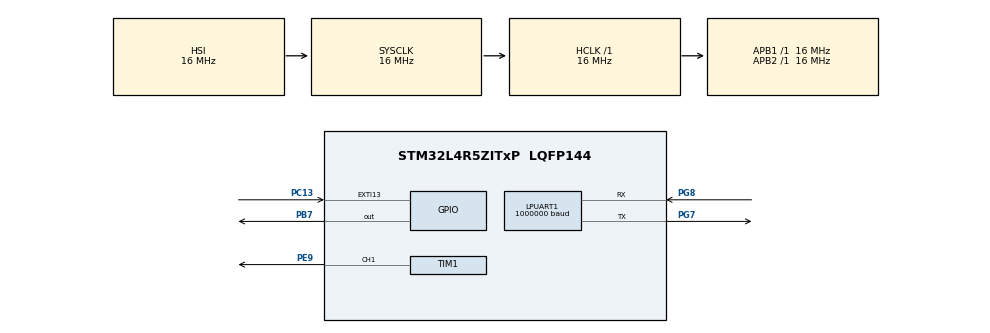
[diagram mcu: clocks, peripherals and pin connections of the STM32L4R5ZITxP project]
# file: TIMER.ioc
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Dma.LPUART1_RX.0.Direction=DMA_PERIPH_TO_MEMORY
Dma.LPUART1_RX.0.EventEnable=DISABLE
Dma.LPUART1_RX.0.Instance=DMA1_Channel1
Dma.LPUART1_RX.0.MemDataAlignment=DMA_MDATAALIGN_BYTE
Dma.LPUART1_RX.0.MemInc=DMA_MINC_ENABLE
Dma.LPUART1_RX.0.Mode=DMA_NORMAL
Dma.LPUART1_RX.0.PeriphDataAlignment=DMA_PDATAALIGN_BYTE
Dma.LPUART1_RX.0.PeriphInc=DMA_PINC_DISABLE
Dma.LPUART1_RX.0.Polarity=HAL_DMAMUX_REQUEST_GEN_RISING
Dma.LPUART1_RX.0.Priority=DMA_PRIORITY_LOW
Dma.LPUART1_RX.0.RequestNumber=1
Dma.LPUART1_RX.0.SignalID=NONE
Dma.LPUART1_RX.0.SyncEnable=DISABLE
Dma.LPUART1_RX.0.SyncPolarity=HAL_DMAMUX_SYNC_NO_EVENT
Dma.LPUART1_RX.0.SyncRequestNumber=1
Dma.LPUART1_RX.0.SyncSignalID=NONE
Dma.LPUART1_TX.1.Direction=DMA_MEMORY_TO_PERIPH
Dma.LPUART1_TX.1.EventEnable=DISABLE
Dma.LPUART1_TX.1.Instance=DMA1_Channel2
Dma.LPUART1_TX.1.MemDataAlignment=DMA_MDATAALIGN_BYTE
Dma.LPUART1_TX.1.MemInc=DMA_MINC_ENABLE
Dma.LPUART1_TX.1.Mode=DMA_NORMAL
Dma.LPUART1_TX.1.PeriphDataAlignment=DMA_PDATAALIGN_BYTE
Dma.LPUART1_TX.1.PeriphInc=DMA_PINC_DISABLE
Dma.LPUART1_TX.1.Polarity=HAL_DMAMUX_REQUEST_GEN_RISING
Dma.LPUART1_TX.1.Priority=DMA_PRIORITY_LOW
Dma.LPUART1_TX.1.RequestNumber=1
Dma.LPUART1_TX.1.SignalID=NONE
Dma.LPUART1_TX.1.SyncEnable=DISABLE
Dma.LPUART1_TX.1.SyncPolarity=HAL_DMAMUX_SYNC_NO_EVENT
Dma.LPUART1_TX.1.SyncRequestNumber=1
Dma.LPUART1_TX.1.SyncSignalID=NONE
Dma.Request0=LPUART1_RX
Dma.Request1=LPUART1_TX
LPUART1.BaudRate=1000000
LPUART1.WordLength=UART_WORDLENGTH_8B
Mcu.Family=STM32L4
Mcu.Name=STM32L4R5ZITxP
Mcu.Package=LQFP144
NVIC.DMA1_Channel1_IRQn=true\:0\:0\:false\:false\:true\:false\:true\:true
NVIC.DMA1_Channel2_IRQn=true\:0\:0\:false\:false\:true\:false\:true\:true
NVIC.EXTI15_10_IRQn=true\:0\:0\:false\:false\:true\:true\:true\:true
NVIC.LPUART1_IRQn=true\:0\:0\:false\:false\:true\:true\:true\:true
NVIC.PriorityGroup=NVIC_PRIORITYGROUP_4
NVIC.TIM1_UP_TIM16_IRQn=true\:0\:0\:false\:false\:true\:true\:true\:true
PB7.Signal=GPIO_Output
PC13.Signal=GPXTI13
PE9.Signal=S_TIM1_CH1
PG7.Mode=Asynchronous
PG7.Signal=LPUART1_TX
PG8.Mode=Asynchronous
PG8.Signal=LPUART1_RX
ProjectManager.HeapSize=0x200
ProjectManager.StackSize=0x400
ProjectManager.TargetToolchain=STM32CubeIDE
RCC.ADCFreq_Value=4000000
RCC.AHBFreq_Value=16000000
RCC.APB1Freq_Value=16000000
RCC.APB1TimFreq_Value=16000000
RCC.APB2Freq_Value=16000000
RCC.APB2TimFreq_Value=16000000
RCC.CortexFreq_Value=16000000
RCC.HCLKFreq_Value=16000000
RCC.HSE_VALUE=8000000
RCC.HSI48_VALUE=48000000
RCC.HSI_VALUE=16000000
RCC.LSE_VALUE=32768
RCC.MSIClockRange=RCC_MSIRANGE_4
RCC.MSI_VALUE=1000000
RCC.SYSCLKFreq_VALUE=16000000
RCC.SYSCLKSource=RCC_SYSCLKSOURCE_HSI
RCC.USBFreq_Value=4000000
RCC.VCOOutputFreq_Value=8000000
SH.S_TIM1_CH1.0=TIM1_CH1,PWM Generation1 CH1
TIM1.AutoReloadPreload=TIM_AUTORELOAD_PRELOAD_ENABLE
TIM1.Channel-PWM\ Generation1\ CH1=TIM_CHANNEL_1
TIM1.Period=3000
TIM1.Prescaler=1600
TIM1.TIM_MasterOutputTrigger=TIM_TRGO_UPDATE
VP_TIM1_VS_ClockSourceINT.Mode=Internal
board=NUCLEO-L4R5ZI-P

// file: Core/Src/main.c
/* USER CODE BEGIN Header */
/**
  ******************************************************************************
  * @file           : main.c
  * @brief          : Main program body
  ******************************************************************************
  * @attention
  *
  * Copyright (c) 2024 STMicroelectronics.
  * All rights reserved.
  *
  * This software is licensed under terms that can be found in the LICENSE file
  * in the root directory of this software component.
  * If no LICENSE file comes with this software, it is provided AS-IS.
  *
  ******************************************************************************
  */
/* USER CODE END Header */
#include "main.h"

/* USER CODE BEGIN Includes */
#include "uart_driver.h"
/* USER CODE END Includes */

/* USER CODE BEGIN PM */
int isSizeRxed = 0;
uint16_t size = 0;
uint8_t RxData[4096];
/* USER CODE END PM */

UART_HandleTypeDef hlpuart1;
DMA_HandleTypeDef hdma_lpuart1_rx;
DMA_HandleTypeDef hdma_lpuart1_tx;

TIM_HandleTypeDef htim1;

void SystemClock_Config(void);
static void MX_GPIO_Init(void);
static void MX_DMA_Init(void);
static void MX_TIM1_Init(void);
static void MX_LPUART1_UART_Init(void);
/* USER CODE BEGIN PFP */
static void TIM1_IRQHandler(TIM_HandleTypeDef *htim);
void HAL_TIM_PeriodElapsedCallback(TIM_HandleTypeDef* htim);
/* USER CODE END PFP */

int main(void)
{

  /* MCU Configuration--------------------------------------------------------*/

  /* Reset of all peripherals, Initializes the Flash interface and the Systick. */
  HAL_Init();

  /* Configure the system clock */
  SystemClock_Config();

  /* Initialize all configured peripherals */
  MX_GPIO_Init();
  MX_DMA_Init();
  MX_TIM1_Init();
  MX_LPUART1_UART_Init();
  /* USER CODE BEGIN 2 */
  // Start Timer in interrupt mode
  HAL_TIM_Base_Start_IT(&htim1);

  /* USER CODE END 2 */

  /* Infinite loop */
  /* USER CODE BEGIN WHILE */
  // https://deepbluembedded.com/stm32-timer-interrupt-hal-example-timer-mode-lab/
  uint16_t counterTicks = 0;
  char MSG[50] = {'\0'};
  char bufferIT[20] = "BUFFER IT\r\n";
  char bufferDMA[20] = "BUFFER DMA\r\n";
  char RxBuffer[20] = {'\0'};
//  HAL_UART_Receive_DMA(&hlpuart1, RxData, 4);
  while (1)
  {
	  counterTicks = TIM1->CNT;

	  if(HAL_UART_Receive(&hlpuart1, (char *)RxBuffer, 20, 100) == HAL_OK)
	  {
		  RxBuffer[19] = '\0';
		  sprintf(MSG, "Incoming msg = %s \r\n\r", RxBuffer);
		  transmit_UART_MSG_Pooling(&hlpuart1, (char *)MSG, sizeof(MSG));
	  }
//	  if(counterTicks % 1000 == 0)
//	  {
//		  sprintf(MSG, "Ticks = %d \r\n\r", counterTicks);
//		  transmit_UART_MSG_Pooling(&hlpuart1, (char *)MSG, sizeof(MSG));
//
//		  transmit_UART_MSG_IT(&hlpuart1, bufferIT, sizeof(bufferIT));
//
//		  transmit_UART_MSG_DMA(&hlpuart1, bufferDMA, sizeof(bufferDMA));
//		  transmit_UART_MSG_DMA(&hlpuart1, (char *)RxData, sizeof(RxData));
//	  }
	  HAL_Delay(1000);
    /* USER CODE END WHILE */

  }
}

void SystemClock_Config(void)
{
  RCC_OscInitTypeDef RCC_OscInitStruct = {0};
  RCC_ClkInitTypeDef RCC_ClkInitStruct = {0};

  /** Configure the main internal regulator output voltage
  */
  if (HAL_PWREx_ControlVoltageScaling(PWR_REGULATOR_VOLTAGE_SCALE1) != HAL_OK)
  {
    Error_Handler();
  }

  /** Initializes the RCC Oscillators according to the specified parameters
  * in the RCC_OscInitTypeDef structure.
  */
  RCC_OscInitStruct.OscillatorType = RCC_OSCILLATORTYPE_HSI;
  RCC_OscInitStruct.HSIState = RCC_HSI_ON;
  RCC_OscInitStruct.HSICalibrationValue = RCC_HSICALIBRATION_DEFAULT;
  RCC_OscInitStruct.PLL.PLLState = RCC_PLL_NONE;
  if (HAL_RCC_OscConfig(&RCC_OscInitStruct) != HAL_OK)
  {
    Error_Handler();
  }

  /** Initializes the CPU, AHB and APB buses clocks
  */
  RCC_ClkInitStruct.ClockType = RCC_CLOCKTYPE_HCLK|RCC_CLOCKTYPE_SYSCLK
                              |RCC_CLOCKTYPE_PCLK1|RCC_CLOCKTYPE_PCLK2;
  RCC_ClkInitStruct.SYSCLKSource = RCC_SYSCLKSOURCE_HSI;
  RCC_ClkInitStruct.AHBCLKDivider = RCC_SYSCLK_DIV1;
  RCC_ClkInitStruct.APB1CLKDivider = RCC_HCLK_DIV1;
  RCC_ClkInitStruct.APB2CLKDivider = RCC_HCLK_DIV1;

  if (HAL_RCC_ClockConfig(&RCC_ClkInitStruct, FLASH_LATENCY_0) != HAL_OK)
  {
    Error_Handler();
  }
}

static void MX_LPUART1_UART_Init(void)
{

  hlpuart1.Instance = LPUART1;
  hlpuart1.Init.BaudRate = 1000000;
  hlpuart1.Init.WordLength = UART_WORDLENGTH_8B;
  hlpuart1.Init.StopBits = UART_STOPBITS_1;
  hlpuart1.Init.Parity = UART_PARITY_NONE;
  hlpuart1.Init.Mode = UART_MODE_TX_RX;
  hlpuart1.Init.HwFlowCtl = UART_HWCONTROL_NONE;
  hlpuart1.Init.OneBitSampling = UART_ONE_BIT_SAMPLE_DISABLE;
  hlpuart1.Init.ClockPrescaler = UART_PRESCALER_DIV1;
  hlpuart1.AdvancedInit.AdvFeatureInit = UART_ADVFEATURE_NO_INIT;
  hlpuart1.FifoMode = UART_FIFOMODE_DISABLE;
  if (HAL_UART_Init(&hlpuart1) != HAL_OK)
  {
    Error_Handler();
  }
  if (HAL_UARTEx_SetTxFifoThreshold(&hlpuart1, UART_TXFIFO_THRESHOLD_1_8) != HAL_OK)
  {
    Error_Handler();
  }
  if (HAL_UARTEx_SetRxFifoThreshold(&hlpuart1, UART_RXFIFO_THRESHOLD_1_8) != HAL_OK)
  {
    Error_Handler();
  }
  if (HAL_UARTEx_DisableFifoMode(&hlpuart1) != HAL_OK)
  {
    Error_Handler();
  }

}

static void MX_TIM1_Init(void)
{

  TIM_ClockConfigTypeDef sClockSourceConfig = {0};
  TIM_MasterConfigTypeDef sMasterConfig = {0};
  TIM_OC_InitTypeDef sConfigOC = {0};
  TIM_BreakDeadTimeConfigTypeDef sBreakDeadTimeConfig = {0};

  htim1.Instance = TIM1;
  htim1.Init.Prescaler = 1600;
  htim1.Init.CounterMode = TIM_COUNTERMODE_UP;
  htim1.Init.Period = 3000;
  htim1.Init.ClockDivision = TIM_CLOCKDIVISION_DIV1;
  htim1.Init.RepetitionCounter = 0;
  htim1.Init.AutoReloadPreload = TIM_AUTORELOAD_PRELOAD_ENABLE;
  if (HAL_TIM_Base_Init(&htim1) != HAL_OK)
  {
    Error_Handler();
  }
  sClockSourceConfig.ClockSource = TIM_CLOCKSOURCE_INTERNAL;
  if (HAL_TIM_ConfigClockSource(&htim1, &sClockSourceConfig) != HAL_OK)
  {
    Error_Handler();
  }
  if (HAL_TIM_PWM_Init(&htim1) != HAL_OK)
  {
    Error_Handler();
  }
  sMasterConfig.MasterOutputTrigger = TIM_TRGO_UPDATE;
  sMasterConfig.MasterOutputTrigger2 = TIM_TRGO2_RESET;
  sMasterConfig.MasterSlaveMode = TIM_MASTERSLAVEMODE_DISABLE;
  if (HAL_TIMEx_MasterConfigSynchronization(&htim1, &sMasterConfig) != HAL_OK)
  {
    Error_Handler();
  }
  sConfigOC.OCMode = TIM_OCMODE_PWM1;
  sConfigOC.Pulse = 0;
  sConfigOC.OCPolarity = TIM_OCPOLARITY_HIGH;
  sConfigOC.OCNPolarity = TIM_OCNPOLARITY_HIGH;
  sConfigOC.OCFastMode = TIM_OCFAST_DISABLE;
  sConfigOC.OCIdleState = TIM_OCIDLESTATE_RESET;
  sConfigOC.OCNIdleState = TIM_OCNIDLESTATE_RESET;
  if (HAL_TIM_PWM_ConfigChannel(&htim1, &sConfigOC, TIM_CHANNEL_1) != HAL_OK)
  {
    Error_Handler();
  }
  sBreakDeadTimeConfig.OffStateRunMode = TIM_OSSR_DISABLE;
  sBreakDeadTimeConfig.OffStateIDLEMode = TIM_OSSI_DISABLE;
  sBreakDeadTimeConfig.LockLevel = TIM_LOCKLEVEL_OFF;
  sBreakDeadTimeConfig.DeadTime = 0;
  sBreakDeadTimeConfig.BreakState = TIM_BREAK_DISABLE;
  sBreakDeadTimeConfig.BreakPolarity = TIM_BREAKPOLARITY_HIGH;
  sBreakDeadTimeConfig.BreakFilter = 0;
  sBreakDeadTimeConfig.Break2State = TIM_BREAK2_DISABLE;
  sBreakDeadTimeConfig.Break2Polarity = TIM_BREAK2POLARITY_HIGH;
  sBreakDeadTimeConfig.Break2Filter = 0;
  sBreakDeadTimeConfig.AutomaticOutput = TIM_AUTOMATICOUTPUT_DISABLE;
  if (HAL_TIMEx_ConfigBreakDeadTime(&htim1, &sBreakDeadTimeConfig) != HAL_OK)
  {
    Error_Handler();
  }
  HAL_TIM_MspPostInit(&htim1);

}

static void MX_DMA_Init(void)
{

  /* DMA controller clock enable */
  __HAL_RCC_DMAMUX1_CLK_ENABLE();
  __HAL_RCC_DMA1_CLK_ENABLE();

  /* DMA interrupt init */
  /* DMA1_Channel1_IRQn interrupt configuration */
  HAL_NVIC_SetPriority(DMA1_Channel1_IRQn, 0, 0);
  HAL_NVIC_EnableIRQ(DMA1_Channel1_IRQn);
  /* DMA1_Channel2_IRQn interrupt configuration */
  HAL_NVIC_SetPriority(DMA1_Channel2_IRQn, 0, 0);
  HAL_NVIC_EnableIRQ(DMA1_Channel2_IRQn);

}

static void MX_GPIO_Init(void)
{
  GPIO_InitTypeDef GPIO_InitStruct = {0};

  /* GPIO Ports Clock Enable */
  __HAL_RCC_GPIOC_CLK_ENABLE();
  __HAL_RCC_GPIOE_CLK_ENABLE();
  __HAL_RCC_GPIOG_CLK_ENABLE();
  HAL_PWREx_EnableVddIO2();
  __HAL_RCC_GPIOB_CLK_ENABLE();

  /*Configure GPIO pin Output Level */
  HAL_GPIO_WritePin(GPIOB, GPIO_PIN_7, GPIO_PIN_RESET);

  /*Configure GPIO pin : PC13 */
  GPIO_InitStruct.Pin = GPIO_PIN_13;
  GPIO_InitStruct.Mode = GPIO_MODE_IT_RISING;
  GPIO_InitStruct.Pull = GPIO_NOPULL;
  HAL_GPIO_Init(GPIOC, &GPIO_InitStruct);

  /*Configure GPIO pin : PB7 */
  GPIO_InitStruct.Pin = GPIO_PIN_7;
  GPIO_InitStruct.Mode = GPIO_MODE_OUTPUT_PP;
  GPIO_InitStruct.Pull = GPIO_NOPULL;
  GPIO_InitStruct.Speed = GPIO_SPEED_FREQ_LOW;
  HAL_GPIO_Init(GPIOB, &GPIO_InitStruct);

  /* EXTI interrupt init*/
  HAL_NVIC_SetPriority(EXTI15_10_IRQn, 0, 0);
  HAL_NVIC_EnableIRQ(EXTI15_10_IRQn);

}

/* USER CODE BEGIN 4 */

static void TIM1_IRQHandler(TIM_HandleTypeDef *htim)
{
	if (__HAL_TIM_GET_FLAG(htim, TIM_FLAG_UPDATE) != RESET)
	{
		if(__HAL_TIM_GET_IT_SOURCE(htim, TIM_IT_UPDATE) != RESET)
		{
			__HAL_TIM_CLEAR_IT(htim, TIM_IT_UPDATE);
			HAL_TIM_PeriodElapsedCallback(htim);
		}
	}
}

void HAL_TIM_PeriodElapsedCallback(TIM_HandleTypeDef* htim)
{
    HAL_GPIO_TogglePin(GPIOB, GPIO_PIN_7);
}

void HAL_GPIO_EXTI_Callback(uint16_t GPIO_Pin)
{
	char event_msg[20] = "Button pressed \r\n";
   transmit_UART_MSG_IT_Event(&hlpuart1, event_msg, sizeof(event_msg));
}

//void HAL_UART_RxCpltCallback(UART_HandleTypeDef *hlpuart1)
//{
//	if (isSizeRxed == 0)
//	{
//		size = ((RxData[0]-48)*1000)+((RxData[1]-48)*100)+((RxData[2]-48)*10)+((RxData[3]-48));
//		isSizeRxed = 1;
//		HAL_UART_Receive_DMA(&hlpuart1, RxData, size);
//	}
//        else if (isSizeRxed == 1)
//	{
//		isSizeRxed = 0;
//		HAL_UART_Receive_DMA(&hlpuart1, RxData, 4);
//	}
//}
/* USER CODE END 4 */

void Error_Handler(void)
{
  __disable_irq();
  while (1)
  {
  }
}
